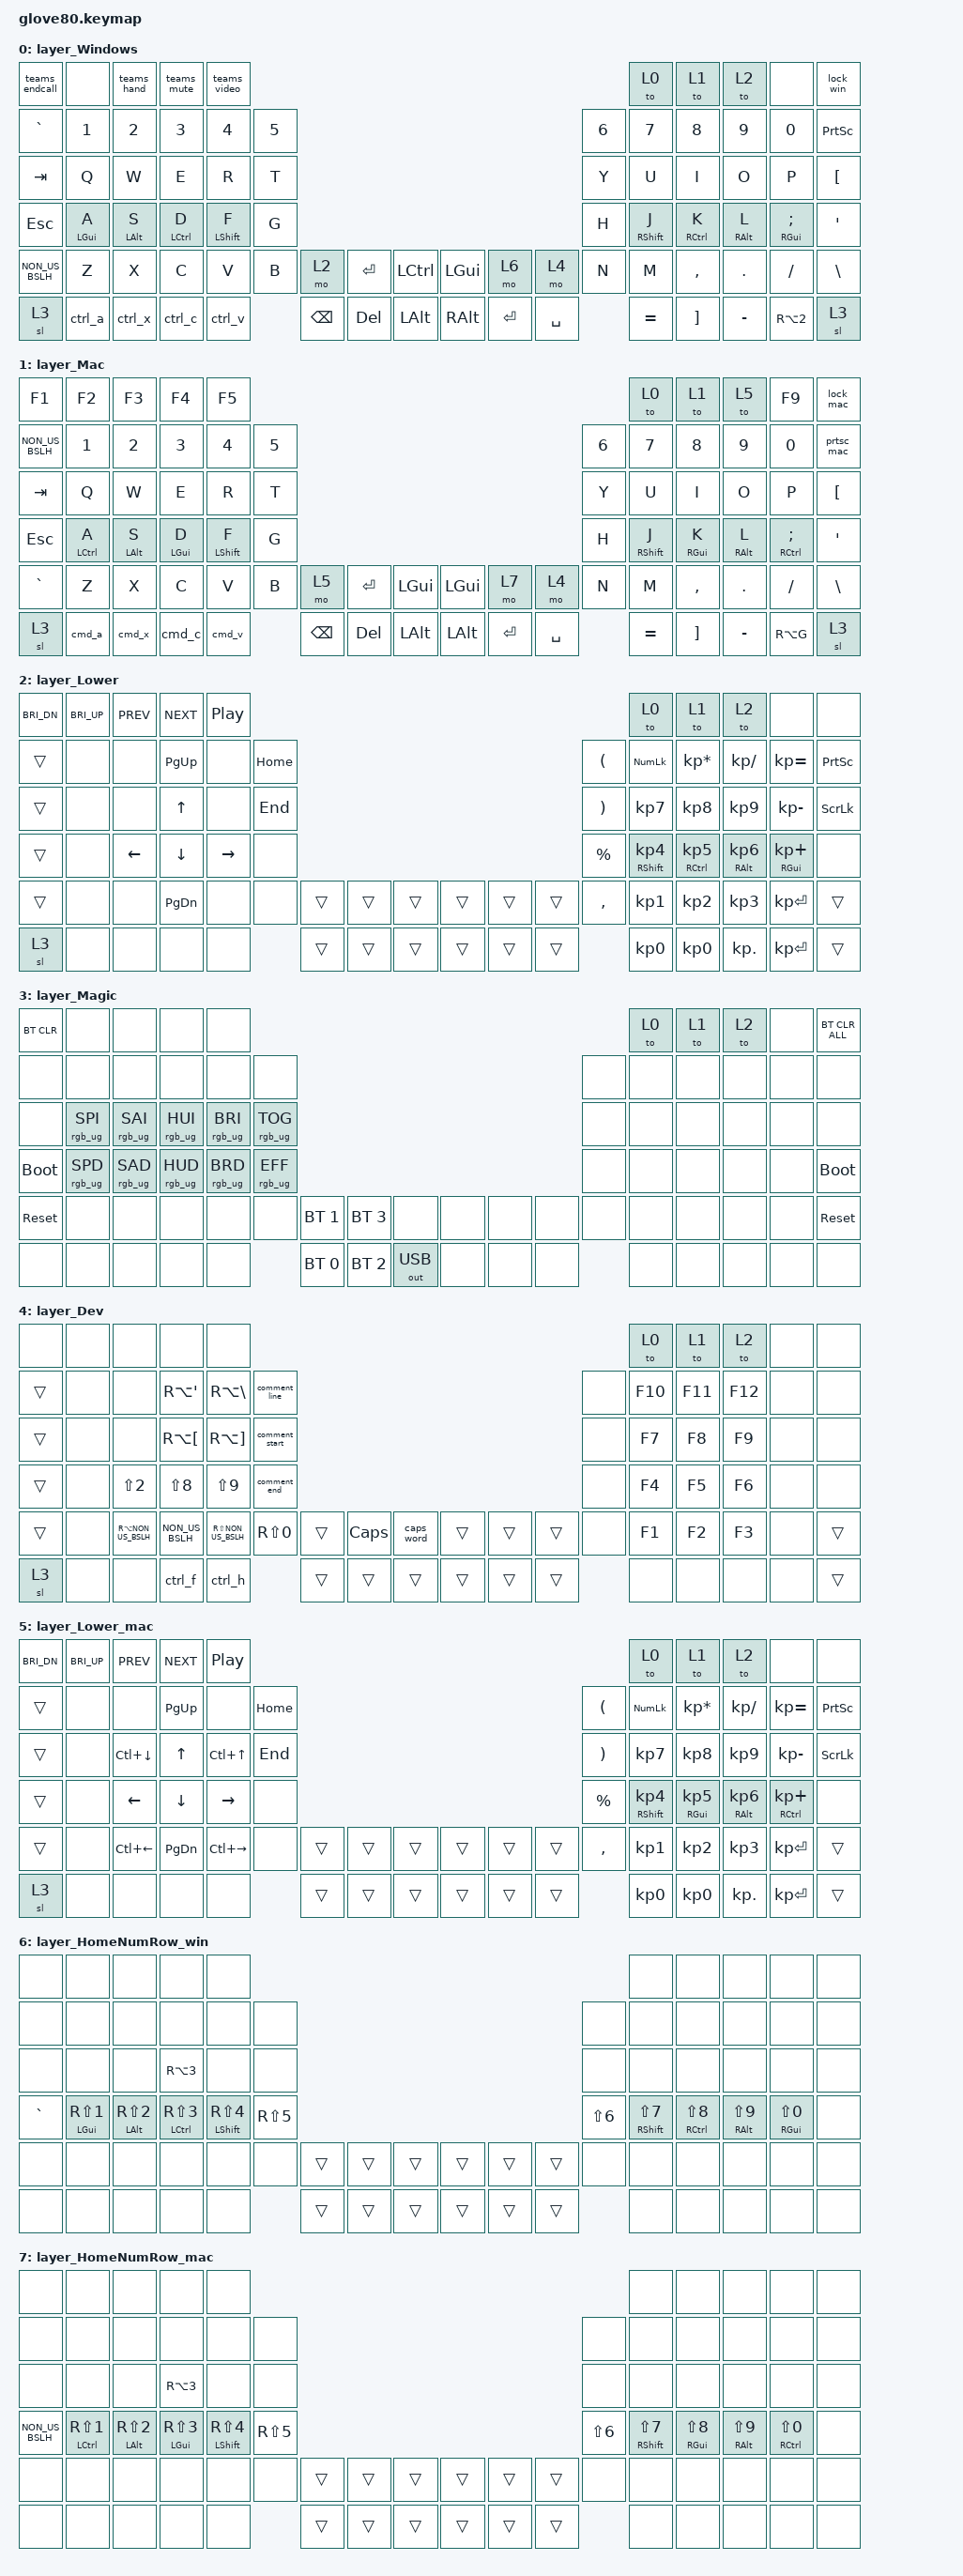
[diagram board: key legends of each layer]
/*
 * Copyright (c) 2020 The ZMK Contributors
 *
 * SPDX-License-Identifier: MIT
 */
#include <behaviors.dtsi>
/* Include all behavior includes needed */
#include <dt-bindings/zmk/outputs.h>
#include <dt-bindings/zmk/keys.h>
#include <dt-bindings/zmk/bt.h>
#include <dt-bindings/zmk/rgb.h>

/* Helper Macros, based on https://github.com/urob/zmk-helpers/ */

#pragma once

#define ZMK_HELPER_STRINGIFY(x) #x

// Preprocessor mechanism to overload macros, cf. https://stackoverflow.com/a/27051616/6114651
#define VARGS_(_10, _9, _8, _7, _6, _5, _4, _3, _2, _1, N, ...) N
#define VARGS(...) VARGS_(__VA_ARGS__, 10, 9, 8, 7, 6, 5, 4, 3, 2, 1, 0)
#define CONCAT_(a, b) a##b
#define CONCAT(a, b) CONCAT_(a, b)

#define ZMK_BEHAVIOR_CORE_tap_dance  \
    compatible = "zmk,behavior-tap-dance"; \
    #binding-cells = <0>

#define ZMK_BEHAVIOR(name, type, ...) \
    name: name { \
        ZMK_BEHAVIOR_CORE_ ## type; \
        __VA_ARGS__ \
    };

#define ZMK_TAP_DANCE(name, ...) \
    ZMK_BEHAVIOR(name, tap_dance, __VA_ARGS__)

#define ZMK_TD_LAYER(name, layer) \
    ZMK_TAP_DANCE(name, \
        tapping-term-ms = <200>; \
        bindings = <&mo layer>, <&to layer>; \
)

/* Environment and metadata defines */
#define KB_TYPE_GLOVE_80 1
#define KB_TYPE_GO_60    2

#define KB_TYPE          KB_TYPE_GLOVE_80
#define EDITOR_HOST_OS   'M'

#define LAYER_Windows 0
#define LAYER_Mac 1
#define LAYER_Lower 2
#define LAYER_Magic 3
#define LAYER_Dev 4
#define LAYER_Lower_mac 5
#define LAYER_HomeNumRow_win 6
#define LAYER_HomeNumRow_mac 7

#define HYPER LC(LS(LG(LALT)))
#define DE_SECT GRAVE
#define DE_APOS MINUS
#define DE_CARET EQUAL
#define DE_Q Q
#define DE_E E
#define DE_Y Z
#define DE_U_UMLAUT LEFT_BRACKET
#define DE_UMLAUT RIGHT_BRACKET
#define DE_OE SEMICOLON
#define DE_AE SINGLE_QUOTE
#define DE_DLLR BACKSLASH
#define DE_Z Y
#define DE_LT NON_US_BACKSLASH
#define DE_COMMA COMMA
#define DE_DOT PERIOD
#define DE_MINUS SLASH
#define DE_N1 N1
#define DE_N2 N2
#define DE_N3 N3
#define DE_N4 N4
#define DE_N5 N5
#define DE_N6 N6
#define DE_N7 N7
#define DE_N8 N8
#define DE_N9 N9
#define DE_N0 N0

&caps_word {
    continue-list = <UNDERSCORE MINUS BACKSPACE DELETE SINGLE_QUOTE>;
};


// ==== PER-KEY-RGB <section begins> ====
/ {
    underglow-layer {
        compatible  = "zmk,underglow-layer";

        lower {
            bindings = <
                0x000000 0x000000 0x000000 0x000000 0x000000                                                          0x0000ff 0x00ff00 0xff5400 0x000000 0x000000
                0x000000 0x000000 0x000000 0xff0000 0x000000 0x000000                                            0x000000 0x000000 0x000000 0x000000 0x000000 0x000000
                0x000000 0x000000 0x000000 0xff5400 0x000000 0x000000                                            0x000000 0xff5400 0xff5400 0xff5400 0x000000 0x000000
                0x000000 0x000000 0xff5400 0xff5400 0xff5400 0x000000                                            0x000000 0xff5400 0xff5400 0xff5400 0x000000 0x000000
                0x000000 0x000000 0x000000 0xff0000 0x000000 0x000000 0xff5400 0x000000 0x000000 0x000000 0x000000 0x000000 0x000000 0xff5400 0xff5400 0xff5400 0x000000 0x000000
                0x000000 0x000000 0x000000 0x000000 0x000000 0x000000 0x000000 0x000000 0x000000 0x000000 0x000000 0xff5400 0x000000 0x000000 0x000000 0x000000
                >;
            layer-id = <LAYER_Lower>;
        };

        lower_mac {
            bindings = <
                0x00ff00 0x000000 0x000000 0x000000 0x000000                                                          0x0000ff 0x00ff00 0xff5400 0x000000 0x000000
                0x000000 0x000000 0x000000 0xff0000 0x000000 0x000000                                            0x000000 0x000000 0x000000 0x000000 0x000000 0x000000
                0x000000 0x000000 0x000000 0xff5400 0x000000 0x000000                                            0x000000 0xff5400 0xff5400 0xff5400 0x000000 0x000000
                0x000000 0x000000 0xff5400 0xff5400 0xff5400 0x000000                                            0x000000 0xff5400 0xff5400 0xff5400 0x000000 0x000000
                0x000000 0x000000 0x000000 0xff0000 0x000000 0x000000 0xff5400 0x000000 0x000000 0x000000 0x000000 0x000000 0x000000 0xff5400 0xff5400 0xff5400 0x000000 0x000000
                0x000000 0x000000 0x000000 0x000000 0x000000 0x000000 0x000000 0x000000 0x000000 0x000000 0x000000 0xff5400 0x000000 0x000000 0x000000 0x000000
                >;
            layer-id = <LAYER_Lower_mac>;
        };

windows {
            bindings = <
                0x880000 0x000000 0xffff00 0x6000ff 0xee00ff                                                          0x0000ff 0x00ff00 0xff5400 0x000000 0x880000
                0x000000 0x000000 0x000000 0x000000 0x000000 0x000000                                            0x000000 0x000000 0x000000 0x000000 0x000000 0x888888
                0x000000 0x000000 0x000000 0x000000 0x000000 0x000000                                            0x000000 0x000000 0x000000 0x000000 0x000000 0x000000
                0x000000 0x0000ff 0x0000ff 0x0000ff 0x0000ff 0x000000                                            0x000000 0x0000ff 0x0000ff 0x0000ff 0x0000ff 0x000000
                0x000000 0x000000 0x000000 0x000000 0x000000 0x000000 0xff5400 0x000000 0x000000 0x000000 0x0000aa 0xf8bb00 0x000000 0x000000 0x000000 0x000000 0x000000 0x000000
                0x000000 0x000000 0x000000 0x000000 0x000000 0x000000 0x000000 0x000000 0x000000 0x000000 0x000000 0x000000 0x000000 0x000000 0x000000 0x000000
                >;
            layer-id = <LAYER_Windows>;
        };
mac {
            bindings = <
                0x000000 0x000000 0x000000 0x000000 0x000000                                                          0x0000ff 0x00ff00 0xff5400 0x000000 0x880000
                0x000000 0x000000 0x000000 0x000000 0x000000 0x000000                                            0x000000 0x000000 0x000000 0x000000 0x000000 0x888888
                0x000000 0x000000 0x000000 0x000000 0x000000 0x000000                                            0x000000 0x000000 0x000000 0x000000 0x000000 0x000000
                0x000000 0x00ff00 0x00ff00 0x00ff00 0x00ff00 0x000000                                            0x000000 0x00ff00 0x00ff00 0x00ff00 0x00ff00  0x000000
                0x000000 0x000000 0x000000 0x000000 0x000000 0x000000 0xff5400 0x000000 0x000000 0x000000 0x00aa00 0xf8bb00 0x000000 0x000000 0x000000 0x000000 0x000000 0x000000
                0x000000 0x000000 0x000000 0x000000 0x000000 0x000000 0x000000 0x000000 0x000000 0x000000 0x000000 0x000000 0x000000 0x000000 0x000000 0x000000
                >;
            layer-id = <LAYER_Mac>;
        };

homenumrow_win {
            bindings = <
                0x880000 0x000000 0x000000 0x000000  0x000000                                                          0x000000 0x000000 0x000000 0x000000 0x000000 
                0x000000 0x000000 0x000000 0x000000 0x000000 0x000000                                            0x000000 0x000000 0x000000 0x000000 0x000000 0x000000 
                0x000000 0x000000 0x000000 0x000000 0x000000 0x000000                                            0x000000 0x000000 0x000000 0x000000 0x000000 0x000000
                0x000000 0x0000ff 0x0000ff 0x0000ff 0x0000ff 0x0000ff                                            0x0000ff 0x0000ff 0x0000ff 0x0000ff 0x0000ff 0x000000
                0x000000 0x000000 0x000000 0x000000 0x000000 0x000000 0x000000 0x000000 0x000000 0x000000 0x000000 0x000000 0x000000 0x000000 0x000000 0x000000 0x000000 0x000000
                0x000000 0x000000 0x000000 0x000000 0x000000 0x000000 0x000000 0x000000 0x000000 0x000000 0x000000 0x000000 0x000000 0x000000 0x000000 0x000000
                >;
            layer-id = <LAYER_HomeNumRow_win>;
        };
homenumrow_mac {
            bindings = <
                0x000000 0x000000 0x000000 0x000000 0x000000                                                          0x000000 0x000000  0x000000  0x000000 0x880000
                0x000000 0x000000 0x000000 0x000000 0x000000 0x000000                                            0x000000 0x000000 0x000000 0x000000 0x000000 0x888888
                0x000000 0x000000 0x000000 0x000000 0x000000 0x000000                                            0x000000 0x000000 0x000000 0x000000 0x000000 0x000000
                0x000000 0x00ff00 0x00ff00 0x00ff00 0x00ff00 0x00ff00                                            0x00ff00 0x00ff00 0x00ff00 0x00ff00 0x00ff00  0x000000
                0x000000 0x000000 0x000000 0x000000 0x000000 0x000000 0x000000 0x000000 0x000000 0x000000 0x000000 0x000000 0x000000 0x000000 0x000000 0x000000 0x000000 0x000000
                0x000000 0x000000 0x000000 0x000000 0x000000 0x000000 0x000000 0x000000 0x000000 0x000000 0x000000 0x000000 0x000000 0x000000 0x000000 0x000000
                >;
            layer-id = <LAYER_HomeNumRow_mac>;
        };
dev {
            bindings = <
                0x000000 0x000000 0x000000 0x000000 0x000000                                                          0x0000ff 0x00ff00 0xff5400 0x000000 0x000000 
                0x000000 0x000000 0x000000 0xf8bb00 0xf8bb00 0x000000                                            0x000000 0xf8bb00 0xf8bb00 0xf8bb00 0x000000 0x000000
                0x000000 0x000000 0x000000 0xf8bb00 0xf8bb00 0x000000                                            0x000000 0xf8bb00 0xf8bb00 0xf8bb00 0x000000 0x000000
                0x000000 0x000000 0x000000 0xf8bb00 0xf8bb00 0x000000                                            0x000000 0xf8bb00 0xf8bb00 0xf8bb00 0x000000 0x000000
                0x000000 0x000000 0x000000 0xf8bb00 0xf8bb00 0x000000 0x000000 0x000000 0x000000 0x000000 0x000000 0x000000 0x000000 0xf8bb00 0xf8bb00 0xf8bb00 0x000000 0x000000
                0x000000 0x000000 0x000000 0x000000 0x000000 0x000000 0x000000 0x000000 0x000000 0x000000 0x000000 0x000000 0x000000 0x000000 0x000000 0x000000
                >;
            layer-id = <LAYER_Dev>;
        };
magic {
            bindings = <
                0x000000 0x000000 0x000000 0x000000 0x000000                                                          0x0000ff 0x00ff00 0xff5400 0x000000 0x000000
                0x000000 0x000000 0x000000 0x000000 0x000000 0x000000                                            0x000000 0x000000 0x000000 0x000000 0x000000 0x000000
                0x000000 0x000000 0x000000 0x000000 0x000000 0xffffff                                            0x000000 0x000000 0x000000 0x000000 0x000000 0x000000
                0x000000 0x000000 0x000000 0x000000 0x000000 0x000000                                            0x000000 0x000000 0x000000 0x000000 0x000000 0x000000
                0x000000 0x000000 0x000000 0x000000 0x000000 0x000000 0x000000 0x000000 0x000000 0x000000 0x000000 0x000000 0x000000 0x000000 0x000000 0x000000 0x000000 0x000000
                0x000000 0x000000 0x000000 0x000000 0x000000 0x000000 0x000000 0x000000 0x000000 0x000000 0x000000 0x000000 0x000000 0x000000 0x000000 0x000000
                >;
            layer-id = <LAYER_Magic>;
        };
    };
};

/* System behavior and Macros */
/ {
    behaviors {
        ZMK_TD_LAYER(lower, LAYER_Lower)
    };
};

/ {
    behaviors {
        // For the "layer" key, it'd nice to be able to use it as either a shift or a toggle.
        // Configure it as a tap dance, so the first tap (or hold) is a &mo and the second tap is a &to

magic: magic {
            compatible = "zmk,behavior-hold-tap";
            label = "MAGIC_HOLD_TAP";
            #binding-cells = <2>;
            flavor = "tap-preferred";
            tapping-term-ms = <200>;
            bindings = <&mo>, <&rgb_ug_status_macro>;
        };

        magic_hold_tap: magic_hold_tap {
            compatible = "zmk,behavior-hold-tap";
            label = "MAGIC_HOLD_TAP";
            #binding-cells = <2>;
            flavor = "tap-preferred";
            tapping-term-ms = <200>;
            bindings = <&mo>, <&rgb_ug_status_macro>;
        };

        left_HRM: left_HRM {
            compatible = "zmk,behavior-hold-tap";
            label = "LEFT_HRM";
            bindings = <&kp>, <&kp>;

            #binding-cells = <2>;
            tapping-term-ms = <200>;
            quick-tap-ms = <150>;
            require-prior-idle-ms = <100>;
            flavor = "tap-preferred";
            hold-trigger-key-positions = <52 53 54 69 70 71 55 56 56 57 56 57 72 73 74 75 16 17 5 6 7 8 9 16 17 18 19 20 21 28 29 30 31 32 33 40 41 42 43 44 45 57 58 59 60 61 62 63 73 74 75 76 77 78 79>;
        };

        right_HRM: right_HRM {
            compatible = "zmk,behavior-hold-tap";
            label = "RIGHT_HRM";
            bindings = <&kp>, <&kp>;

            #binding-cells = <2>;
            tapping-term-ms = <200>;
            quick-tap-ms = <150>;
            require-prior-idle-ms = <100>;
            flavor = "tap-preferred";
            hold-trigger-key-positions = <0 1 2 3 4 10 11 12 13 14 15 22 23 24 25 26 27 34 35 36 37 38 39 46 47 48 49 50 51 52 53 54 55 56 57 64 65 66 67 68 69 70 71 72 73 74>;
        };
    };

    macros {
        rgb_ug_status_macro: rgb_ug_status_macro_0 {
            label = "RGB_UG_STATUS";
            compatible = "zmk,behavior-macro";
            #binding-cells = <0>;
            bindings = <&rgb_ug RGB_STATUS>;
        };

        bt_0: bt_profile_macro_0 {
            label = "BT_0";
            compatible = "zmk,behavior-macro";
            #binding-cells = <0>;
            bindings = <&out OUT_BLE &bt BT_SEL 0>;
        };

        bt_1: bt_profile_macro_1 {
            label = "BT_1";
            compatible = "zmk,behavior-macro";
            #binding-cells = <0>;
            bindings = <&out OUT_BLE &bt BT_SEL 1>;
        };

        bt_2: bt_profile_macro_2 {
            label = "BT_2";
            compatible = "zmk,behavior-macro";
            #binding-cells = <0>;
            bindings = <&out OUT_BLE &bt BT_SEL 2>;
        };

        bt_3: bt_profile_macro_3 {
            label = "BT_3";
            compatible = "zmk,behavior-macro";
            #binding-cells = <0>;
            bindings = <&out OUT_BLE &bt BT_SEL 3>;
        };

        ctrl_x: ctrl_x {
            compatible = "zmk,behavior-macro";
            #binding-cells = <0>;
            bindings = <&kp LC(X)>;
            label = "CTRL_X";
        };

        ctrl_c: ctrl_c {
            compatible = "zmk,behavior-macro";
            #binding-cells = <0>;
            bindings = <&kp LC(C)>;
            label = "CTRL_C";
        };

        ctrl_v: ctrl_v {
            compatible = "zmk,behavior-macro";
            #binding-cells = <0>;
            bindings = <&kp LC(V)>;
            label = "CTRL_V";
        };

        ctrl_a: ctrl_a {
            compatible = "zmk,behavior-macro";
            #binding-cells = <0>;
            bindings = <&kp LC(A)>;
            label = "CTRL_A";
        };

        comment_line: comment_line {
            compatible = "zmk,behavior-macro";
            #binding-cells = <0>;
            bindings = <&kp SLASH &kp SLASH>;
            label = "COMMENT_LINE";
        };

        comment_start: comment_start {
            compatible = "zmk,behavior-macro";
            #binding-cells = <0>;
            bindings = <&kp SLASH &kp STAR>;
            label = "COMMENT_START";
        };

        comment_end: comment_end {
            compatible = "zmk,behavior-macro";
            #binding-cells = <0>;
            bindings = <&kp STAR &kp SLASH>;
            label = "COMMENT_END";
        };

        ctrl_f: ctrl_f {
            compatible = "zmk,behavior-macro";
            #binding-cells = <0>;
            bindings = <&kp LC(F)>;
            label = "CTRL_F";
        };

        ctrl_h: ctrl_h {
            compatible = "zmk,behavior-macro";
            #binding-cells = <0>;
            bindings = <&kp LC(H)>;
            label = "CTRL_H";
        };

        teams_video: teams_video {
            compatible = "zmk,behavior-macro";
            #binding-cells = <0>;
            bindings = <&kp LC(LS(O))>;
            label = "TEAMS_VIDEO";
        };

        teams_mute: teams_mute {
            compatible = "zmk,behavior-macro";
            #binding-cells = <0>;
            bindings = <&kp LC(LS(M))>;
            label = "TEAMS_MUTE";
        };

        teams_hand: teams_hand {
            compatible = "zmk,behavior-macro";
            #binding-cells = <0>;
            bindings = <&kp LC(LS(K))>;
            label = "TEAMS_HAND";
        };

        teams_endcall: teams_endcall {
            compatible = "zmk,behavior-macro";
            #binding-cells = <0>;
            bindings = <&kp LC(LS(H))>;
            label = "TEAMS_ENDCALL";
        };

        at_win: at_win {
            compatible = "zmk,behavior-macro";
            #binding-cells = <0>;
            bindings = <&kp RA(N2)>;
            label = "AT_WIN";
        };

        lock_win: lock_win {
            compatible = "zmk,behavior-macro";
            #binding-cells = <0>;
            bindings = <&kp LG(L)>;
            label = "LOCK_WIN";
        };

        cmd_x: cmd_x {
            compatible = "zmk,behavior-macro";
            #binding-cells = <0>;
            bindings = <&kp LG(X)>;
            label = "CMD_X";
        };

        cmd_c: cmd_c {
            compatible = "zmk,behavior-macro";
            #binding-cells = <0>;
            bindings = <&kp LG(C)>;
            label = "CMD_C";
        };

        cmd_v: cmd_v {
            compatible = "zmk,behavior-macro";
            #binding-cells = <0>;
            bindings = <&kp LG(V)>;
            label = "CMD_V";
        };

        cmd_a: cmd_a {
            compatible = "zmk,behavior-macro";
            #binding-cells = <0>;
            bindings = <&kp LG(A)>;
            label = "CMD_A";
        };

        at_mac: at_mac {
            compatible = "zmk,behavior-macro";
            #binding-cells = <0>;
            bindings = <&kp RA(G)>;
            label = "AT_MAC";
        };

        lock_mac: lock_mac {
            compatible = "zmk,behavior-macro";
            #binding-cells = <0>;
            bindings = <&kp LC(LG(Q))>;
            label = "LOCK_MAC";
        };

        prtsc_mac: prtsc_mac {
            compatible = "zmk,behavior-macro";
            #binding-cells = <0>;
            bindings = <&kp LS(LG(N4))>;
            label = "PRTSC_MAC";
        };
    };

    keymap {
        compatible = "zmk,keymap";

        layer_Windows {
            bindings = <
&teams_endcall   &none             &teams_hand       &teams_mute        &teams_video                                                                                   &to 0               &to 1               &to 2              &none                 &lock_win
&kp GRAVE        &kp N1            &kp N2            &kp N3             &kp N4             &kp N5                                                              &kp N6  &kp N7              &kp N8              &kp N9             &kp N0                &kp PSCRN
&kp TAB          &kp Q             &kp W             &kp E              &kp R              &kp T                                                               &kp Y   &kp U               &kp I               &kp O              &kp P                 &kp LBKT
&kp ESC          &left_HRM LGUI A  &left_HRM LALT S  &left_HRM LCTRL D  &left_HRM LSHFT F  &kp G                                                               &kp H   &right_HRM RSHFT J  &right_HRM RCTRL K  &right_HRM RALT L  &right_HRM RGUI SEMI  &kp SQT
&kp NON_US_BSLH  &kp Z             &kp X             &kp C              &kp V              &kp B   &mo 2     &kp RET  &kp LCTRL  &kp LGUI  &mo 6    &mo 4      &kp N   &kp M               &kp COMMA           &kp DOT            &kp FSLH              &kp BSLH
&sl 3            &ctrl_a           &ctrl_x           &ctrl_c            &ctrl_v                    &kp BSPC  &kp DEL  &kp LALT   &kp RALT  &kp RET  &kp SPACE          &kp EQUAL           &kp RBKT            &kp MINUS          &kp RA(N2)            &sl 3
            >;
        };

        layer_Mac {
            bindings = <
&kp F1           &kp F2             &kp F3            &kp F4            &kp F5                                                                                          &to 0               &to 1              &to 5              &kp F9                 &lock_mac
&kp NON_US_BSLH  &kp N1             &kp N2            &kp N3            &kp N4             &kp N5                                                               &kp N6  &kp N7              &kp N8             &kp N9             &kp N0                 &prtsc_mac
&kp TAB          &kp Q              &kp W             &kp E             &kp R              &kp T                                                                &kp Y   &kp U               &kp I              &kp O              &kp P                  &kp LBKT
&kp ESC          &left_HRM LCTRL A  &left_HRM LALT S  &left_HRM LGUI D  &left_HRM LSHFT F  &kp G                                                                &kp H   &right_HRM RSHFT J  &right_HRM RGUI K  &right_HRM RALT L  &right_HRM RCTRL SEMI  &kp SQT
&kp GRAVE        &kp Z              &kp X             &kp C             &kp V              &kp B   &mo 5     &kp ENTER  &kp LGUI  &kp LGUI  &mo 7    &mo 4      &kp N   &kp M               &kp COMMA          &kp DOT            &kp FSLH               &kp BSLH
&sl 3            &cmd_a             &cmd_x            &cmd_c            &cmd_v                     &kp BSPC  &kp DEL    &kp LALT  &kp LALT  &kp RET  &kp SPACE          &kp EQUAL           &kp RBKT           &kp MINUS          &kp RA(G)              &sl 3
            >;
        };

        layer_Lower {
            bindings = <
&kp C_BRI_DN  &kp C_BRI_UP  &kp C_PREV  &kp C_NEXT  &kp C_PP                                                                                    &to 0                   &to 1                   &to 2                  &none                    &none
&trans        &none         &none       &kp PG_UP   &none      &kp HOME                                                  &kp LEFT_PARENTHESIS   &kp KP_NUM              &kp KP_MULTIPLY         &kp KP_SLASH           &kp KP_EQUAL             &kp PSCRN
&trans        &none         &none       &kp UP      &none      &kp END                                                   &kp RIGHT_PARENTHESIS  &kp KP_N7               &kp KP_N8               &kp KP_N9              &kp KP_MINUS             &kp SCROLLLOCK
&trans        &none         &kp LEFT    &kp DOWN    &kp RIGHT  &none                                                     &kp PERCENT            &right_HRM RSHFT KP_N4  &right_HRM RCTRL KP_N5  &right_HRM RALT KP_N6  &right_HRM RGUI KP_PLUS  &none
&trans        &none         &none       &kp PG_DN   &none      &none     &trans  &trans  &trans  &trans  &trans  &trans  &kp COMMA              &kp KP_N1               &kp KP_N2               &kp KP_N3              &kp KP_ENTER             &trans
&sl 3         &none         &none       &none       &none                &trans  &trans  &trans  &trans  &trans  &trans                         &kp KP_N0               &kp KP_N0               &kp KP_DOT             &kp KP_ENTER             &trans
            >;
        };

        layer_Magic {
            bindings = <
&bt BT_CLR   &none            &none            &none            &none                                                                                                   &to 0  &to 1  &to 2  &none  &bt BT_CLR_ALL
&none        &none            &none            &none            &none            &none                                                                           &none  &none  &none  &none  &none  &none
&none        &rgb_ug RGB_SPI  &rgb_ug RGB_SAI  &rgb_ug RGB_HUI  &rgb_ug RGB_BRI  &rgb_ug RGB_TOG                                                                 &none  &none  &none  &none  &none  &none
&bootloader  &rgb_ug RGB_SPD  &rgb_ug RGB_SAD  &rgb_ug RGB_HUD  &rgb_ug RGB_BRD  &rgb_ug RGB_EFF                                                                 &none  &none  &none  &none  &none  &bootloader
&sys_reset   &none            &none            &none            &none            &none            &bt BT_SEL 1  &bt BT_SEL 3  &none         &none  &none  &none  &none  &none  &none  &none  &none  &sys_reset
&none        &none            &none            &none            &none                             &bt BT_SEL 0  &bt BT_SEL 2  &out OUT_USB  &none  &none  &none         &none  &none  &none  &none  &none
            >;
        };

        layer_Dev {
            bindings = <
&none   &none  &none                &none            &none                                                                                             &to 0    &to 1    &to 2    &none  &none
&trans  &none  &none                &kp RA(SQT)      &kp RA(BSLH)         &comment_line                                                         &none  &kp F10  &kp F11  &kp F12  &none  &none
&trans  &none  &none                &kp RA(LBKT)     &kp RA(RBKT)         &comment_start                                                        &none  &kp F7   &kp F8   &kp F9   &none  &none
&trans  &none  &kp LS(N2)           &kp LS(N8)       &kp LS(N9)           &comment_end                                                          &none  &kp F4   &kp F5   &kp F6   &none  &none
&trans  &none  &kp RA(NON_US_BSLH)  &kp NON_US_BSLH  &kp RS(NON_US_BSLH)  &kp RS(N0)      &trans  &kp CAPS  &caps_word  &trans  &trans  &trans  &none  &kp F1   &kp F2   &kp F3   &none  &trans
&sl 3   &none  &none                &ctrl_f          &ctrl_h                              &trans  &trans    &trans      &trans  &trans  &trans         &none    &none    &none    &none  &trans
            >;
        };

        layer_Lower_mac {
            bindings = <
&kp C_BRI_DN  &kp C_BRI_UP  &kp C_PREV    &kp C_NEXT  &kp C_PP                                                                                           &to 0                   &to 1                  &to 2                  &none                     &none
&trans        &none         &none         &kp PG_UP   &none             &kp HOME                                                  &kp LEFT_PARENTHESIS   &kp KP_NUM              &kp KP_MULTIPLY        &kp KP_SLASH           &kp KP_EQUAL              &kp PSCRN
&trans        &none         &kp LC(DOWN)  &kp UP      &kp LC(UP_ARROW)  &kp END                                                   &kp RIGHT_PARENTHESIS  &kp KP_N7               &kp KP_N8              &kp KP_N9              &kp KP_MINUS              &kp SCROLLLOCK
&trans        &none         &kp LEFT      &kp DOWN    &kp RIGHT         &none                                                     &kp PERCENT            &right_HRM RSHFT KP_N4  &right_HRM RGUI KP_N5  &right_HRM RALT KP_N6  &right_HRM RCTRL KP_PLUS  &none
&trans        &none         &kp LC(LEFT)  &kp PG_DN   &kp LC(RIGHT)     &none     &trans  &trans  &trans  &trans  &trans  &trans  &kp COMMA              &kp KP_N1               &kp KP_N2              &kp KP_N3              &kp KP_ENTER              &trans
&sl 3         &none         &none         &none       &none                       &trans  &trans  &trans  &trans  &trans  &trans                         &kp KP_N0               &kp KP_N0              &kp KP_DOT             &kp KP_ENTER              &trans
            >;
        };

        layer_HomeNumRow_win {
            bindings = <
&none      &none                  &none                  &none                   &none                                                                                           &none                    &none                    &none                   &none                   &none
&none      &none                  &none                  &none                   &none                   &none                                                       &none       &none                    &none                    &none                   &none                   &none
&none      &none                  &none                  &kp RA(N3)              &none                   &none                                                       &none       &none                    &none                    &none                   &none                   &none
&kp GRAVE  &left_HRM LGUI RS(N1)  &left_HRM LALT RS(N2)  &left_HRM LCTRL RS(N3)  &left_HRM LSHFT RS(N4)  &kp RS(N5)                                                  &kp LS(N6)  &right_HRM RSHFT LS(N7)  &right_HRM RCTRL LS(N8)  &right_HRM RALT LS(N9)  &right_HRM RGUI LS(N0)  &none
&none      &none                  &none                  &none                   &none                   &none       &trans  &trans  &trans  &trans  &trans  &trans  &none       &none                    &none                    &none                   &none                   &none
&none      &none                  &none                  &none                   &none                               &trans  &trans  &trans  &trans  &trans  &trans              &none                    &none                    &none                   &none                   &none
            >;
        };

        layer_HomeNumRow_mac {
            bindings = <
&none            &none                   &none                  &none                  &none                                                                                           &none                    &none                   &none                   &none                    &none
&none            &none                   &none                  &none                  &none                   &none                                                       &none       &none                    &none                   &none                   &none                    &none
&none            &none                   &none                  &kp RA(N3)             &none                   &none                                                       &none       &none                    &none                   &none                   &none                    &none
&kp NON_US_BSLH  &left_HRM LCTRL RS(N1)  &left_HRM LALT RS(N2)  &left_HRM LGUI RS(N3)  &left_HRM LSHFT RS(N4)  &kp RS(N5)                                                  &kp LS(N6)  &right_HRM RSHFT LS(N7)  &right_HRM RGUI LS(N8)  &right_HRM RALT LS(N9)  &right_HRM RCTRL LS(N0)  &none
&none            &none                   &none                  &none                  &none                   &none       &trans  &trans  &trans  &trans  &trans  &trans  &none       &none                    &none                   &none                   &none                    &none
&none            &none                   &none                  &none                  &none                               &trans  &trans  &trans  &trans  &trans  &trans              &none                    &none                   &none                   &none                    &none
            >;
        };
    };
};
